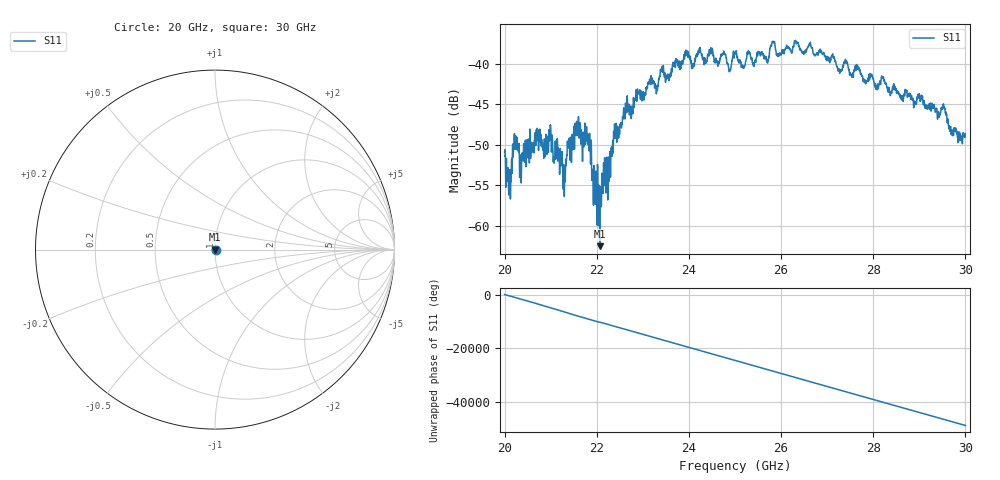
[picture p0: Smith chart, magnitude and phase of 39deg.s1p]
#  HZ  S  RI  R  50.00
! Rohde & Schwarz ZVA40 4Ports - Version 3.90 - 1145.1110k42 SN: 100403
! Date: 2023-10-03 12:52:57
! Measurement: S12
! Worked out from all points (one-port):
!   5001 points, 20 GHz to 30 GHz, reference 50 ohm
!   lowest |S11| = -62.5 dB at 22.06 GHz (marker M1), VSWR 1.00, Z = 49.9 + j0.00363 ohm
!   |S11| at or under -10 dB: start of sweep to end of sweep
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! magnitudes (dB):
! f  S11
! 20 GHz  -50.9
! 20.1 GHz  -54.5
! 20.22 GHz  -50.3
! 20.37 GHz  -52.2
! 20.74 GHz  -50.7
! 20.84 GHz  -50.5
! 21 GHz  -48.0
! 21.25 GHz  -51.5
! 21.6 GHz  -47.9
! 21.81 GHz  -50.0
! 21.94 GHz  -53.0
! 22.06 GHz  -62.5
! 22.38 GHz  -49.0
! 22.5 GHz  -47.7
! 22.89 GHz  -43.4
! 23.75 GHz  -39.6
! 24.47 GHz  -38.3
! 24.88 GHz  -41.0
! 25 GHz  -38.8
! 25.18 GHz  -40.6
! 25.3 GHz  -38.5
! 25.7 GHz  -39.5
! 25.82 GHz  -37.4
! 26.25 GHz  -38.3
! 27.5 GHz  -41.1
! 28.75 GHz  -43.7
! 29.52 GHz  -45.0
! 30 GHz  -48.6
